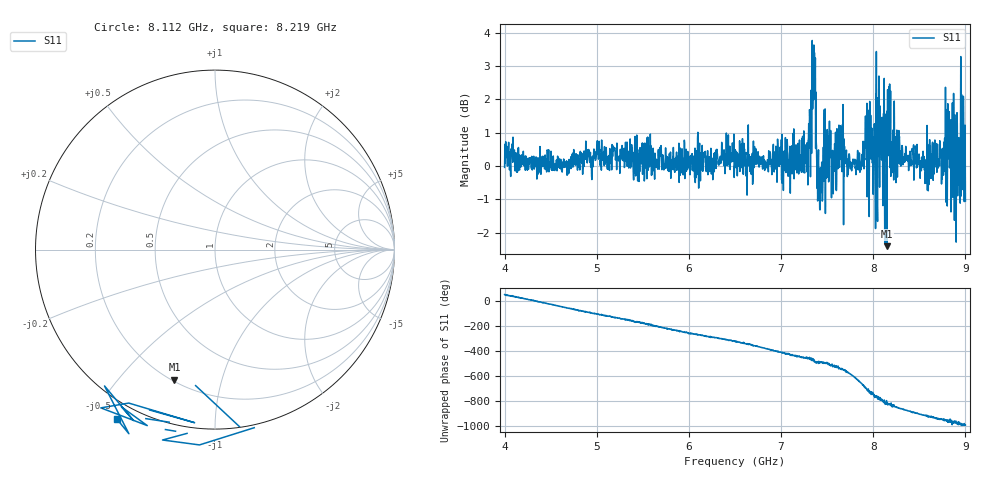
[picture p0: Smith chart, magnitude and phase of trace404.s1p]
! Created with skrf 1.8.0 (http://scikit-rf.org).
# Hz S RI R 50.0
!freq ReS11 ImS11
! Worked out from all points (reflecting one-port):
!   1601 points, 4 GHz to 9 GHz, reference 50 ohm
!   lowest |S11| = -2.4 dB at 8.15 GHz (marker M1), VSWR 7.28, Z = 10.5 - j35.7 ohm
!   phase of S11 starts at 52 deg and turns -1047 deg over the sweep
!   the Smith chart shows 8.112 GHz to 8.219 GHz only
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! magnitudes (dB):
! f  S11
! 4 GHz  0.0
! 4.625 GHz  -0.2
! 5.25 GHz  -0.2
! 5.875 GHz  0.0
! 6.5 GHz  0.5
! 7.125 GHz  0.4
! 7.266 GHz  0.6
! 7.309 GHz  1.7
! 7.347 GHz  2.6
! 7.362 GHz  3.4
! 7.412 GHz  -0.2
! 7.438 GHz  -0.4
! 7.478 GHz  1.7
! 7.578 GHz  0.4
! 7.65 GHz  1.0
! 7.75 GHz  0.0
! 7.859 GHz  0.0
! 7.938 GHz  0.7
! 8 GHz  -0.8
! 8.053 GHz  1.5
! 8.066 GHz  1.0
! 8.15 GHz  -2.4
! 8.375 GHz  0.2
! 8.578 GHz  0.0
! 8.834 GHz  1.0
! 8.919 GHz  -0.1
! 8.972 GHz  0.6
! 9 GHz  -1.1
